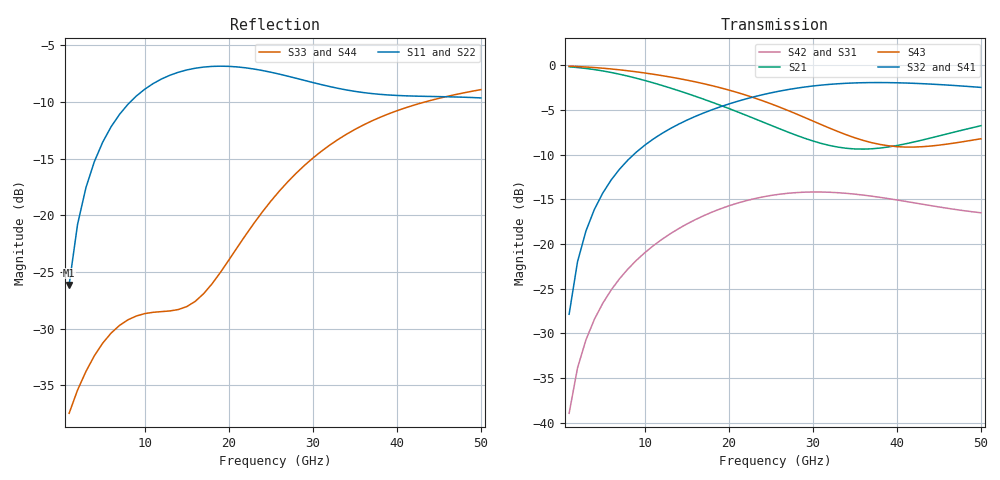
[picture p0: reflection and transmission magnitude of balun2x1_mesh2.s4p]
! Created with skrf 2.1.0 (http://scikit-rf.org).
# GHz S DB R 50.0
! Port[1] = P1
! Port[2] = P2
! Port[3] = P3
! Port[4] = P4
!freq dBS11 angS11 dBS12 angS12 dBS13 angS13
! dBS14 angS14
! dBS21 angS21 dBS22 angS22 dBS23 angS23
! dBS24 angS24
! dBS31 angS31 dBS32 angS32 dBS33 angS33
! dBS34 angS34
! dBS41 angS41 dBS42 angS42 dBS43 angS43
! dBS44 angS44
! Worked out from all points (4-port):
!   50 points, 1 GHz to 50 GHz, reference 50 ohm
!   strongest paths, dB at 1 GHz, 13 GHz, 26 GHz, 38 GHz, 50 GHz:
!     S32: -27.9, -7.1, -2.9, -2.0, -2.5
!     S41: -27.9, -7.1, -2.9, -2.0, -2.5
!     S43: -0.1, -1.3, -4.7, -8.9, -8.2
!     S21: -0.2, -2.5, -7.1, -9.3, -6.8
!     S42: -38.9, -18.9, -14.4, -14.8, -16.5
!     S31: -39.0, -18.9, -14.6, -15.0, -16.7
!   lowest |S11| = -26.1 dB at 1 GHz (marker M1), VSWR 1.10, Z = 52 + j4.64 ohm
!   |S11| at or under -10 dB: start of sweep to 8.294 GHz
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1  -26.14 64.6  -0.19 -5.3  -38.95 -109.4  -27.87 84.5
   -0.19 -5.3  -26.14 64.5  -27.87 84.4  -38.95 -109.5
   -38.95 -109.4  -27.87 84.4  -37.47 23.3  -0.12 -2.6
   -27.87 84.5  -38.95 -109.5  -0.12 -2.6  -37.47 23.3
4  -15.28 62.4  -0.50 -19.7  -28.46 -133.9  -16.15 73.6
   -0.50 -19.7  -15.28 62.2  -16.15 73.6  -28.45 -134.3
   -28.46 -133.9  -16.15 73.6  -32.40 28.5  -0.27 -9.7
   -16.15 73.6  -28.45 -134.3  -0.27 -9.7  -32.41 28.2
9  -9.49 40.8  -1.47 -42.7  -21.87 -175.3  -9.73 56.0
   -1.47 -42.7  -9.50 40.4  -9.73 56.0  -21.84 -175.9
   -21.87 -175.3  -9.73 56.0  -28.89 0.6  -0.75 -20.8
   -9.73 56.0  -21.84 -175.9  -0.75 -20.8  -28.86 0.1
18  -6.87 6.2  -4.15 -82.6  -16.54 119.8  -5.00 28.7
    -4.15 -82.6  -6.91 5.2  -4.99 28.7  -16.44 118.6
    -16.54 119.8  -4.99 28.7  -26.06 -107.1  -2.30 -38.8
    -5.00 28.7  -16.44 118.6  -2.30 -38.8  -25.82 -107.8
28  -7.92 -18.7  -7.83 -138.0  -14.43 61.5  -2.61 0.1
    -7.83 -138.0  -8.08 -20.3  -2.59 -0.1  -14.26 59.8
    -14.43 61.5  -2.59 -0.1  -16.31 168.0  -5.45 -52.5
    -2.61 0.1  -14.26 59.8  -5.45 -52.5  -16.11 167.9
37  -9.27 -26.4  -9.36 156.2  -14.89 22.5  -1.98 -24.7
    -9.36 156.2  -9.60 -27.7  -1.95 -25.0  -14.66 19.9
    -14.89 22.5  -1.95 -25.0  -11.69 126.6  -8.67 -46.6
    -1.98 -24.7  -14.66 19.9  -8.67 -46.6  -11.51 126.3
50  -9.65 -37.8  -6.78 87.9  -16.69 -7.3  -2.54 -54.0
    -6.78 87.9  -10.01 -38.2  -2.49 -54.5  -16.52 -11.7
    -16.69 -7.3  -2.49 -54.5  -8.92 89.4  -8.24 -29.3
    -2.54 -54.0  -16.52 -11.7  -8.24 -29.3  -8.76 88.8
